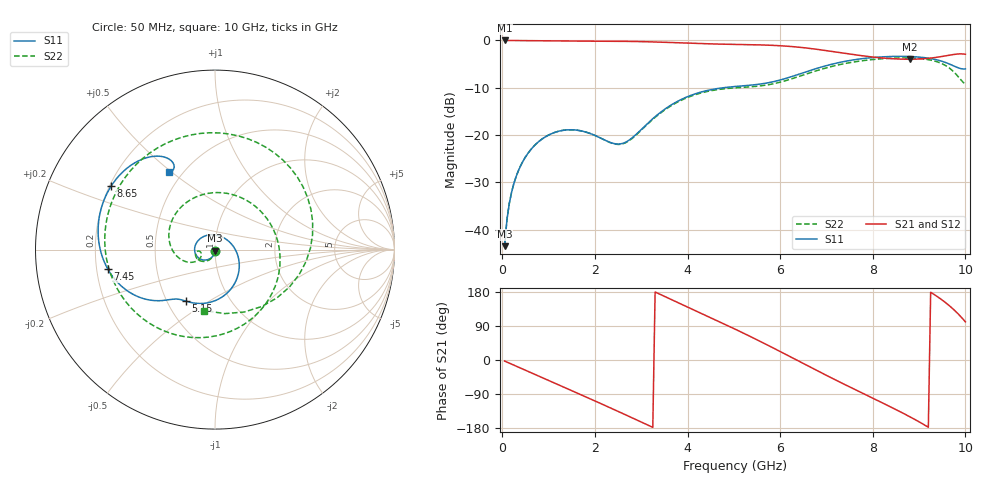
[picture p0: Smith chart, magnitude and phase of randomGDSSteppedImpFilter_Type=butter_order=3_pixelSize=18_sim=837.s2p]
! freq	dB(S11)	phase(S11)	dB(S12)	phase(S12)
!  dB(S21)	phase(S21)	dB(S22)	phase(S22)
!S-par simulation data
#  GHz  S  DB  R 50
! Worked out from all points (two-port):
!   200 points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, 50 MHz to 10 GHz, reference 50 ohm
!   highest |S21| = -0.01 dB at 50 MHz (marker M1); lowest = -4.0 dB at 8.8 GHz (marker M2)
!   |S21| within 3 dB of the highest: start of sweep to 7.59 GHz; 9.724 GHz to end of sweep
!   lowest |S11| = -43.5 dB at 50 MHz (marker M3), VSWR 1.01, Z = 50 - j0.667 ohm
!   |S11| at or under -10 dB: start of sweep to 4.778 GHz
!   |S22| runs from -43.5 to -3.7 dB; largest |S21 - S12| = 0
!   S11 on the Smith chart (normalised r, x): 50 MHz: 1.00, -0.01; 5.15 GHz: 0.62, -0.40; 7.45 GHz: 0.25, -0.08; 8.65 GHz: 0.21, +0.27; 10 GHz: 0.43, +0.49
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0.05  -43.50 -85.9  -0.01 -2.8  -0.01 -2.8  -43.51 -85.1
0.2  -32.13 -100.1  -0.02 -10.9  -0.02 -10.9  -32.12 -98.6
0.55  -23.93 -122.5  -0.06 -29.8  -0.06 -29.8  -23.93 -117.9
1.15  -19.40 -159.4  -0.12 -62.1  -0.12 -62.1  -19.40 -146.7
1.75  -19.23 158.5  -0.16 -94.4  -0.16 -94.4  -19.24 -169.5
2.65  -21.59 47.5  -0.20 -144.0  -0.20 -144.0  -21.70 -157.7
3.4  -15.33 -38.1  -0.36 173.8  -0.36 173.8  -15.48 -155.7
4.3  -10.90 -90.2  -0.68 123.0  -0.68 123.0  -11.09 155.8
5.05  -9.73 -116.7  -0.86 80.1  -0.86 80.1  -10.01 97.0
5.15  -9.65 -119.2  -0.87 74.3  -0.87 74.3  -9.95 87.8
6  -8.38 -132.8  -1.13 22.4  -1.13 22.4  -8.84 -3.0
6.7  -6.20 -146.6  -1.77 -21.9  -1.77 -21.9  -6.68 -79.2
7.05  -5.20 -156.7  -2.24 -43.7  -2.24 -43.7  -5.67 -113.4
7.45  -4.34 -169.7  -2.82 -68.0  -2.82 -68.0  -4.80 -149.8
7.9  -3.72 174.9  -3.41 -94.8  -3.41 -94.8  -4.15 171.3
8.35  -3.41 159.2  -3.83 -121.7  -3.83 -121.7  -3.79 132.7
8.65  -3.37 148.7  -3.97 -140.2  -3.97 -140.2  -3.71 106.2
8.8  -3.41 143.5  -3.99 -149.8  -3.99 -149.8  -3.72 92.5
9.15  -3.69 131.2  -3.84 -173.8  -3.84 -173.8  -3.99 58.0
9.55  -4.59 118.8  -3.31 153.5  -3.31 153.5  -5.19 8.7
9.75  -5.41 115.8  -2.97 132.9  -2.97 132.9  -6.67 -26.7
10  -6.03 120.5  -2.93 100.8  -2.93 100.8  -9.25 -99.8
